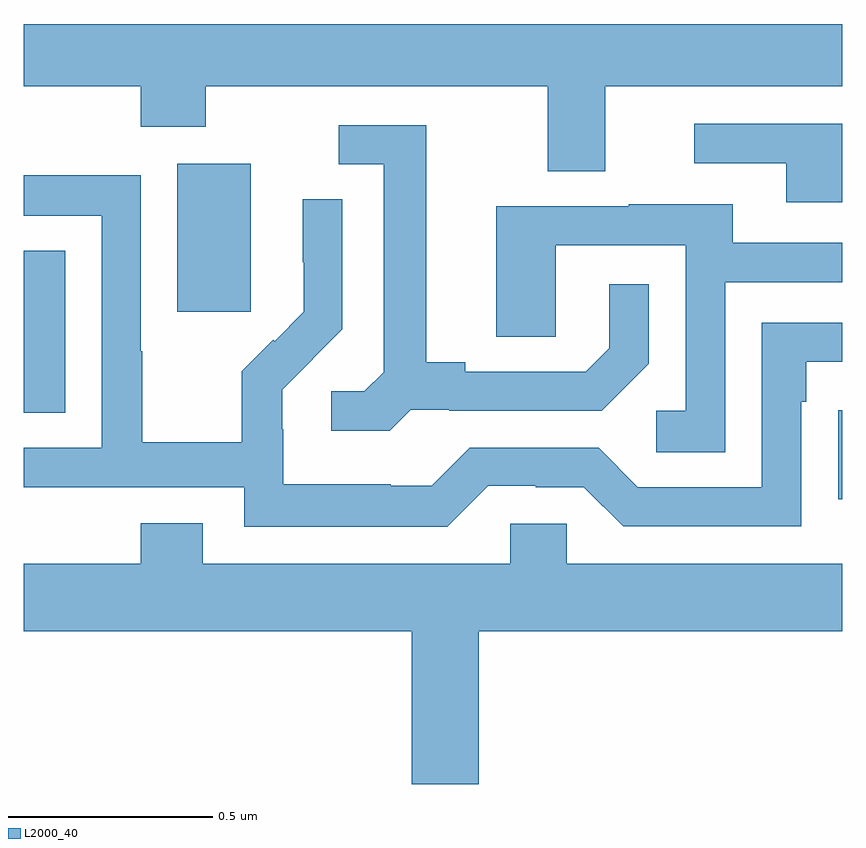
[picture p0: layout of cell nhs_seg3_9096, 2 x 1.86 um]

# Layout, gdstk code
import gdstk
lib = gdstk.Library(unit=1e-6, precision=1e-09)
def R(c, l, rs):  # rectangles x0, y0, x1, y1
    for r in rs: c.add(gdstk.rectangle(r[:2], r[2:], *l))
def P(c, l, *ps):  # polygons
    for p in ps: c.add(gdstk.Polygon(p, *l))
L2000_40 = (2000, 40)

nhs_seg3_9096 = lib.new_cell('nhs_seg3_9096')
R(nhs_seg3_9096, L2000_40, [(225.991,701.238,226,701.456), (224,701.449,224.101,701.846), (224.375,701.697,224.554,702.058)])
P(nhs_seg3_9096, L2000_40, [(225.421,702.248),(226,702.248),(226,702.4),(224,702.4),(224,702.248),(224.285,702.248),(224.285,702.149),(224.445,702.149),(224.445,702.248),(225.281,702.248),(225.281,702.04),(225.421,702.04)],
  [(226,702.156),(225.639,702.156),(225.639,702.06),(225.863,702.06),(225.863,701.964),(226,701.964)],
  [(224.946,701.457),(225.04,701.457),(225.04,701.454),(225.412,701.454),(225.528,701.57),(225.528,701.764),(225.431,701.764),(225.431,701.607),(225.374,701.55),(225.079,701.55),(225.079,701.573),(224.983,701.573),(224.983,702.153),(224.769,702.153),(224.769,702.057),(224.879,702.057),(224.879,701.549),(224.832,701.502),(224.751,701.502),(224.751,701.405),(224.894,701.405)],
  [(225.135,701.271),(225.251,701.271),(225.251,701.268),(225.369,701.268),(225.465,701.172),(225.9,701.172),(225.9,701.477),(225.913,701.477),(225.913,701.574),(226,701.574),(226,701.67),(225.804,701.67),(225.804,701.268),(225.501,701.268),(225.405,701.364),(225.09,701.364),(224.997,701.271),(224.897,701.271),(224.897,701.275),(224.634,701.275),(224.634,701.409),(224.632,701.409),(224.632,701.506),(224.706,701.58),(224.705,701.581),(224.778,701.654),(224.778,701.972),(224.682,701.972),(224.682,701.818),(224.684,701.818),(224.684,701.696),(224.613,701.625),(224.61,701.628),(224.533,701.551),(224.533,701.377),(224.289,701.377),(224.289,701.6),(224.286,701.6),(224.286,702.03),(224,702.03),(224,701.931),(224.19,701.931),(224.19,701.364),(224,701.364),(224,701.268),(224.538,701.268),(224.538,701.171),(225.035,701.171)],
  [(225.714,701.769),(226,701.769),(226,701.865),(225.733,701.865),(225.733,701.959),(225.479,701.959),(225.479,701.955),(225.155,701.955),(225.155,701.635),(225.3,701.635),(225.3,701.859),(225.618,701.859),(225.618,701.454),(225.546,701.454),(225.546,701.353),(225.714,701.353)],
  [(226,701.08),(225.327,701.08),(225.327,701.178),(225.189,701.178),(225.189,701.08),(224.437,701.08),(224.437,701.179),(224.285,701.179),(224.285,701.08),(224,701.08),(224,700.916),(224.948,700.916),(224.948,700.542),(225.112,700.542),(225.112,700.916),(226,700.916)])

lib.write_gds('nhs_seg3_9096.gds')
